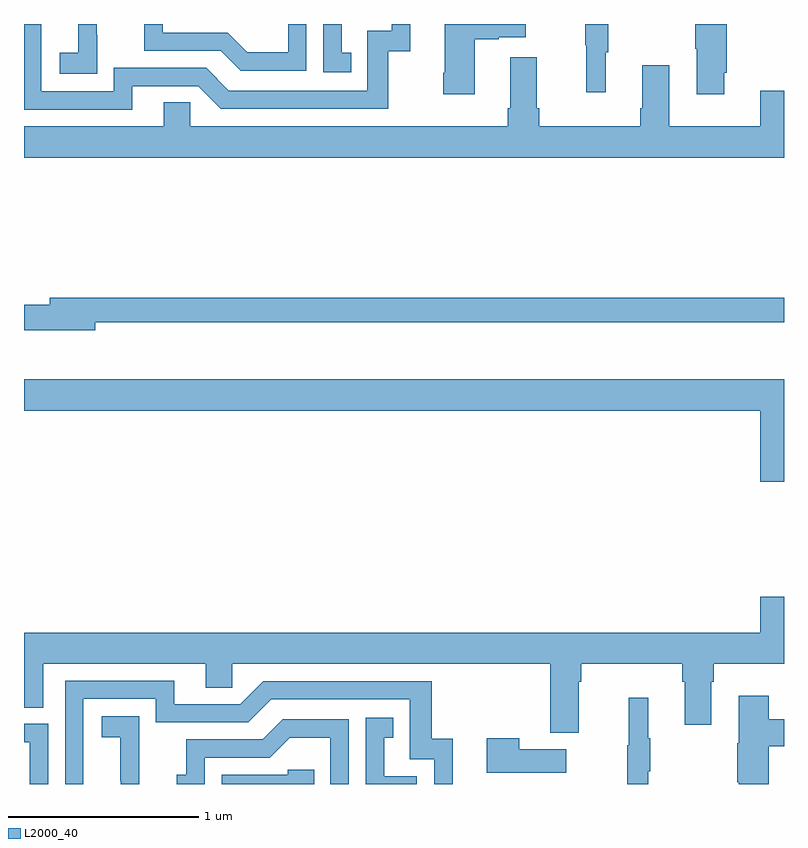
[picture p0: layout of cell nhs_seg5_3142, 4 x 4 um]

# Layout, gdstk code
import gdstk
lib = gdstk.Library(unit=1e-6, precision=1e-09)
def P(c, l, *ps):  # polygons
    for p in ps: c.add(gdstk.Polygon(p, *l))
L2000_40 = (2000, 40)

nhs_seg5_3142 = lib.new_cell('nhs_seg5_3142')
P(nhs_seg5_3142, L2000_40, [(294.486,854.799),(294.39,854.799),(294.39,854.65),(294.176,854.65),(294.072,854.754),(293.73,854.754),(293.73,854.799),(293.632,854.799),(293.632,854.658),(294.035,854.658),(294.14,854.553),(294.486,854.553)],
  [(296.686,854.542),(296.699,854.542),(296.699,854.799),(296.533,854.799),(296.533,854.668),(296.54,854.668),(296.54,854.43),(296.686,854.43)],
  [(294.722,854.649),(294.673,854.649),(294.673,854.799),(294.576,854.799),(294.576,854.544),(294.722,854.544)],
  [(293.569,854.472),(293.916,854.472),(294.036,854.352),(294.916,854.352),(294.916,854.655),(295.034,854.655),(295.034,854.799),(294.936,854.799),(294.936,854.763),(294.807,854.763),(294.807,854.448),(294.078,854.448),(293.958,854.568),(293.472,854.568),(293.472,854.445),(293.091,854.445),(293.091,854.799),(293,854.799),(293,854.349),(293.569,854.349)],
  [(293.385,854.743),(293.384,854.743),(293.384,854.799),(293.285,854.799),(293.285,854.647),(293.187,854.647),(293.187,854.537),(293.385,854.537)],
  [(295.372,854.719),(295.499,854.719),(295.499,854.729),(295.642,854.729),(295.642,854.799),(295.214,854.799),(295.214,854.542),(295.207,854.542),(295.207,854.43),(295.372,854.43)],
  [(296.063,854.651),(296.074,854.651),(296.074,854.799),(295.953,854.799),(295.953,854.688),(295.96,854.688),(295.96,854.439),(296.063,854.439)],
  [(297,854.449),(296.876,854.449),(296.876,854.26),(296.395,854.26),(296.395,854.581),(296.255,854.581),(296.255,854.356),(296.243,854.356),(296.243,854.26),(295.712,854.26),(295.712,854.356),(295.699,854.356),(295.699,854.623),(295.559,854.623),(295.559,854.356),(295.547,854.356),(295.547,854.26),(293.874,854.26),(293.874,854.387),(293.735,854.387),(293.735,854.26),(293,854.26),(293,854.096),(297,854.096)],
  [(293.374,853.23),(297,853.23),(297,853.358),(293.135,853.358),(293.135,853.322),(293,853.322),(293,853.187),(293.374,853.187)],
  [(297,852.928),(293,852.928),(293,852.764),(296.876,852.764),(296.876,852.39),(297,852.39)],
  [(295.921,851.336),(295.934,851.336),(295.934,851.432),(296.465,851.432),(296.465,851.336),(296.477,851.336),(296.477,851.112),(296.617,851.112),(296.617,851.336),(296.63,851.336),(296.63,851.432),(297,851.432),(297,851.785),(296.876,851.785),(296.876,851.596),(293,851.596),(293,851.2),(293.101,851.2),(293.101,851.432),(293.957,851.432),(293.957,851.305),(294.096,851.305),(294.096,851.432),(295.769,851.432),(295.769,851.07),(295.921,851.07)],
  [(293.313,851.247),(293.694,851.247),(293.694,851.124),(294.18,851.124),(294.3,851.244),(295.029,851.244),(295.029,850.929),(295.158,850.929),(295.158,850.799),(295.256,850.799),(295.256,851.038),(295.145,851.038),(295.145,851.34),(294.258,851.34),(294.138,851.22),(293.791,851.22),(293.791,851.343),(293.217,851.343),(293.217,850.799),(293.313,850.799)],
  [(296.921,850.997),(297,850.997),(297,851.139),(296.921,851.139),(296.921,851.263),(296.762,851.263),(296.762,851.013),(296.755,851.013),(296.755,850.807),(296.762,850.807),(296.762,850.799),(296.921,850.799)],
  [(296.285,850.867),(296.296,850.867),(296.296,851.041),(296.285,851.041),(296.285,851.254),(296.182,851.254),(296.182,851.004),(296.175,851.004),(296.175,850.799),(296.285,850.799)],
  [(293.606,850.949),(293.607,850.949),(293.607,851.155),(293.409,851.155),(293.409,851.045),(293.507,851.045),(293.507,850.817),(293.508,850.817),(293.508,850.799),(293.606,850.799)],
  [(295.068,850.839),(294.895,850.839),(294.895,851.043),(294.944,851.043),(294.944,851.149),(294.798,851.149),(294.798,850.799),(295.068,850.799)],
  [(293.952,850.938),(294.294,850.938),(294.398,851.042),(294.612,851.042),(294.612,850.799),(294.708,850.799),(294.708,851.139),(294.362,851.139),(294.257,851.034),(293.854,851.034),(293.854,850.849),(293.805,850.849),(293.805,850.799),(293.952,850.799)],
  [(293.127,851.115),(293,851.115),(293,851.019),(293.031,851.019),(293.031,850.799),(293.127,850.799)],
  [(295.855,850.981),(295.607,850.981),(295.607,851.041),(295.436,851.041),(295.436,850.859),(295.855,850.859)],
  [(294.527,850.875),(294.387,850.875),(294.387,850.848),(294.042,850.848),(294.042,850.799),(294.527,850.799)])

lib.write_gds('nhs_seg5_3142.gds')
